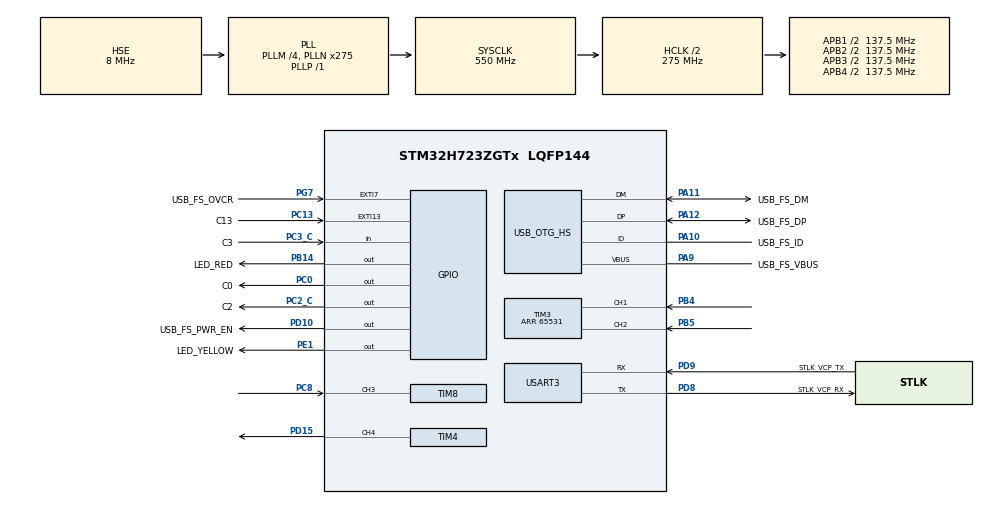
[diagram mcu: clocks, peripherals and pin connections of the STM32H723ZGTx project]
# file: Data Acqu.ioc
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Mcu.Family=STM32H7
Mcu.Name=STM32H723ZGTx
Mcu.Package=LQFP144
NVIC.EXTI15_10_IRQn=true\:0\:0\:false\:false\:true\:true\:true
NVIC.PriorityGroup=NVIC_PRIORITYGROUP_4
NVIC.TIM23_IRQn=true\:0\:0\:false\:false\:true\:true\:true
NVIC.TIM24_IRQn=true\:0\:0\:false\:false\:true\:true\:true
NVIC.TIM2_IRQn=true\:0\:0\:false\:false\:true\:true\:true
PA10.GPIO_Label=USB_FS_ID
PA10.Mode=OTG/Dual-Role-Device-FS
PA10.Signal=USB_OTG_HS_ID
PA11.GPIO_Label=USB_FS_DM
PA11.Mode=OTG/Dual-Role-Device-FS
PA11.Signal=USB_OTG_HS_DM
PA12.GPIO_Label=USB_FS_DP
PA12.Mode=OTG/Dual-Role-Device-FS
PA12.Signal=USB_OTG_HS_DP
PA13(JTMS/SWDIO).GPIO_Label=SWDIO
PA13(JTMS/SWDIO).Mode=Trace_Asynchronous_SW
PA13(JTMS/SWDIO).Signal=DEBUG_JTMS-SWDIO
PA14(JTCK/SWCLK).GPIO_Label=SWCLK
PA14(JTCK/SWCLK).Mode=Trace_Asynchronous_SW
PA14(JTCK/SWCLK).Signal=DEBUG_JTCK-SWCLK
PA2.GPIO_Label=RMII_MDIO
PA2.Signal=ETH_MDIO
PA7.GPIO_Label=RMII_CRS_DV
PA7.Signal=ETH_CRS_DV
PA9.GPIO_Label=USB_FS_VBUS
PA9.Mode=Activate_VBUS_FS
PA9.Signal=USB_OTG_HS_VBUS
PB13.GPIO_Label=RMII_TXD1
PB13.Signal=ETH_TXD1
PB14.GPIO_Label=LED_RED
PB14.Signal=GPIO_Output
PB3(JTDO/TRACESWO).GPIO_Label=SWO
PB3(JTDO/TRACESWO).Mode=Trace_Asynchronous_SW
PB3(JTDO/TRACESWO).Signal=DEBUG_JTDO-SWO
PB4(NJTRST).Signal=S_TIM3_CH1
PB5.Signal=S_TIM3_CH2
PC0.GPIO_Label=C0
PC0.Signal=GPIO_Output
PC1.GPIO_Label=RMII_MDC
PC1.Signal=ETH_MDC
PC13.GPIO_Label=C13
PC13.Signal=GPXTI13
PC14-OSC32_IN.Mode=LSE-External-Oscillator
PC14-OSC32_IN.Signal=RCC_OSC32_IN
PC15-OSC32_OUT.Mode=LSE-External-Oscillator
PC15-OSC32_OUT.Signal=RCC_OSC32_OUT
PC2_C.GPIO_Label=C2
PC2_C.PinState=GPIO_PIN_SET
PC2_C.Signal=GPIO_Output
PC3_C.GPIO_Label=C3
PC3_C.Signal=GPIO_Input
PC4.GPIO_Label=RMII_RXD0
PC4.Signal=ETH_RXD0
PC5.GPIO_Label=RMII_RXD1
PC5.Signal=ETH_RXD1
PC8.Signal=S_TIM8_CH3
PD10.GPIO_Label=USB_FS_PWR_EN
PD10.Signal=GPIO_Output
PD15.Signal=S_TIM4_CH4
PD8.GPIO_Label=STLK_VCP_RX
PD8.Mode=Asynchronous
PD8.Signal=USART3_TX
PD9.GPIO_Label=STLK_VCP_TX
PD9.Mode=Asynchronous
PD9.Signal=USART3_RX
PE1.GPIO_Label=LED_YELLOW
PE1.Signal=GPIO_Output
PG11.GPIO_Label=RMII_TX_EN
PG11.Signal=ETH_TX_EN
PG13.GPIO_Label=RMII_TXD0
PG13.Signal=ETH_TXD0
PG7.GPIO_Label=USB_FS_OVCR
PG7.Signal=GPXTI7
PH0-OSC_IN.GPIO_Label=MCO
PH0-OSC_IN.Mode=HSE-External-Clock-Source
PH0-OSC_IN.Signal=RCC_OSC_IN
PH1-OSC_OUT.Signal=RCC_OSC_OUT
ProjectManager.HeapSize=0x200
ProjectManager.StackSize=0x400
ProjectManager.TargetToolchain=STM32CubeIDE
RCC.ADCFreq_Value=76000000
RCC.APB1Freq_Value=137500000
RCC.APB2Freq_Value=137500000
RCC.APB3Freq_Value=137500000
RCC.APB4Freq_Value=137500000
RCC.CortexFreq_Value=550000000
RCC.D1PPRE=RCC_APB3_DIV2
RCC.D2PPRE1=RCC_APB1_DIV2
RCC.D2PPRE2=RCC_APB2_DIV2
RCC.D3PPRE=RCC_APB4_DIV2
RCC.DIVM1=4
RCC.DIVM2=1
RCC.DIVN1=275
RCC.DIVN2=19
RCC.DIVP1=1
RCC.DIVQ1=4
RCC.HCLKFreq_Value=275000000
RCC.HPRE=RCC_HCLK_DIV2
RCC.HSE_VALUE=8000000
RCC.PLLFRACN=0
RCC.PLLSourceVirtual=RCC_PLLSOURCE_HSE
RCC.SYSCLKFreq_VALUE=550000000
RCC.SYSCLKSource=RCC_SYSCLKSOURCE_PLLCLK
RCC.USBCLockSelection=RCC_USBCLKSOURCE_HSI48
RCC.USBFreq_Value=48000000
SH.S_TIM3_CH1.0=TIM3_CH1,Encoder_Interface
SH.S_TIM3_CH2.0=TIM3_CH2,Encoder_Interface
SH.S_TIM4_CH4.0=TIM4_CH4,PWM Generation4 CH4
SH.S_TIM8_CH3.0=TIM8_CH3,Input_Capture3_from_TI3
TIM2.Period=2749
TIM2.Prescaler=999
TIM23.Period=9999
TIM23.Prescaler=549
TIM24.Period=14
TIM24.Prescaler=65530
TIM3.EncoderMode=TIM_ENCODERMODE_TI12
TIM3.IC1Filter=10
TIM3.IC2Filter=10
TIM3.Period=65531
TIM4.Channel-PWM\ Generation4\ CH4=TIM_CHANNEL_4
TIM4.Period=27499
TIM4.Prescaler=99
TIM4.Pulse-PWM\ Generation4\ CH4=4999
TIM5.Period=99999
TIM5.Prescaler=5499
TIM8.Channel-Input_Capture3_from_TI3=TIM_CHANNEL_3
TIM8.ICFilter_CH3=10
TIM8.Prescaler=9999
TIM8.RepetitionCounter=10
USART3.VirtualMode-Asynchronous=VM_ASYNC
VP_TIM23_VS_ClockSourceINT.Mode=Internal
VP_TIM24_VS_ClockSourceINT.Mode=Internal
VP_TIM2_VS_ClockSourceINT.Mode=Internal
VP_TIM4_VS_ClockSourceINT.Mode=Internal
VP_TIM5_VS_ClockSourceINT.Mode=Internal
VP_TIM8_VS_ClockSourceINT.Mode=Internal
board=NUCLEO-H723ZG

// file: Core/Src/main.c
/* USER CODE BEGIN Header */
/**
  ******************************************************************************
  * @file           : main.c
  * @brief          : Main program body
  ******************************************************************************
  * @attention
  *
  * <h2><center>&copy; Copyright (c) 2022 STMicroelectronics.
  * All rights reserved.</center></h2>
  *
  * This software component is licensed by ST under BSD 3-Clause license,
  * the "License"; You may not use this file except in compliance with the
  * License. You may obtain a copy of the License at:
  *                        opensource.org/licenses/BSD-3-Clause
  *
  ******************************************************************************
  */
/* USER CODE END Header */
#include "main.h"

TIM_HandleTypeDef htim2;
TIM_HandleTypeDef htim3;
TIM_HandleTypeDef htim4;
TIM_HandleTypeDef htim5;
TIM_HandleTypeDef htim8;
TIM_HandleTypeDef htim23;
TIM_HandleTypeDef htim24;

UART_HandleTypeDef huart3;

/* USER CODE BEGIN PV */
#include "stdint.h"
#include "stdio.h"
#include <math.h>
#include <stdbool.h>
#include <stdlib.h>
#include "arm_math.h"

/* USER CODE END PV */

void SystemClock_Config(void);
static void MX_GPIO_Init(void);
static void MX_USART3_UART_Init(void);
static void MX_USB_OTG_HS_USB_Init(void);
static void MX_TIM4_Init(void);
static void MX_TIM3_Init(void);
static void MX_TIM8_Init(void);
static void MX_TIM2_Init(void);
static void MX_TIM5_Init(void);
static void MX_TIM23_Init(void);
static void MX_TIM24_Init(void);
/* USER CODE BEGIN PFP */
void HAL_TIM_PeriodElapsedCallback(TIM_HandleTypeDef * htim);
extern void initialise_monitor_handles(void);
int pulses(void);
void Data_Aqc (int in , int out_spd , int out_pos , int data_nmbr);

/* USER CODE END PFP */

/* USER CODE BEGIN 0 */
int Pulses;
float speed = 0;
float N =1;
float input_val = 0;
float * out_speed ;
float * IN;
float * Position;

float Fe = 100;
double DutyC = 0;
int ccr_reg = 0;
int ARR = 27500;

int p = 0 ;
FILE * F_sp ;
FILE * F_in;
FILE * F_pos;

/* USER CODE END 0 */

int main(void)
{
  /* USER CODE BEGIN 1 */

	initialise_monitor_handles();

		out_speed = (float*) malloc (1000*sizeof(float));
		IN = (float*) malloc (1000*sizeof(float));
		Position = (float*) malloc (1000*sizeof(float));

		__HAL_TIM_SET_COMPARE(&htim4,TIM_CHANNEL_4, ccr_reg);

  /* USER CODE END 1 */

  /* MCU Configuration--------------------------------------------------------*/

  /* Reset of all peripherals, Initializes the Flash interface and the Systick. */
  HAL_Init();

  /* Configure the system clock */
  SystemClock_Config();

  /* Initialize all configured peripherals */
  MX_GPIO_Init();
  MX_USART3_UART_Init();
  MX_USB_OTG_HS_USB_Init();
  MX_TIM4_Init();
  MX_TIM3_Init();
  MX_TIM8_Init();
  MX_TIM2_Init();
  MX_TIM5_Init();
  MX_TIM23_Init();
  MX_TIM24_Init();
  /* USER CODE BEGIN 2 */
  HAL_GPIO_WritePin(GPIOC,GPIO_PIN_0,GPIO_PIN_RESET);
  HAL_GPIO_WritePin(GPIOC,GPIO_PIN_2,GPIO_PIN_SET);
  HAL_TIM_PWM_Start(&htim4,TIM_CHANNEL_4);
  HAL_TIM_Encoder_Start(&htim3,TIM_CHANNEL_ALL);
  HAL_TIM_IC_Start (&htim8,TIM_CHANNEL_3);
  HAL_TIM_Base_Start_IT(&htim2);
  //HAL_TIM_Base_Start_IT(&htim23);

  int CCR_old =0;
  int CCR_new = 0;

  while (1)
  {

	    while(! (__HAL_TIM_GET_FLAG(&htim8,TIM_FLAG_CC3))) {}
		  CCR_new = __HAL_TIM_GET_COMPARE(&htim8,TIM_CHANNEL_3);
		  int diff = CCR_new - CCR_old;
		  CCR_old = CCR_new;
		  speed = 154.2746392/ diff; // Rad/s
			//143.320208327- PPR 1205.6
			// 127.0497029 - PPR 1360
			//154.2746392 - PPR 1120

  }

  p =4;
  /* USER CODE END 2 */

  /* Infinite loop */
  while (1)
  {

  }
}

void SystemClock_Config(void)
{
  RCC_OscInitTypeDef RCC_OscInitStruct = {0};
  RCC_ClkInitTypeDef RCC_ClkInitStruct = {0};

  /** Supply configuration update enable
  */
  HAL_PWREx_ConfigSupply(PWR_LDO_SUPPLY);
  /** Configure the main internal regulator output voltage
  */
  __HAL_PWR_VOLTAGESCALING_CONFIG(PWR_REGULATOR_VOLTAGE_SCALE0);

  while(!__HAL_PWR_GET_FLAG(PWR_FLAG_VOSRDY)) {}
  /** Initializes the RCC Oscillators according to the specified parameters
  * in the RCC_OscInitTypeDef structure.
  */
  RCC_OscInitStruct.OscillatorType = RCC_OSCILLATORTYPE_HSI48|RCC_OSCILLATORTYPE_HSE;
  RCC_OscInitStruct.HSEState = RCC_HSE_BYPASS;
  RCC_OscInitStruct.HSI48State = RCC_HSI48_ON;
  RCC_OscInitStruct.PLL.PLLState = RCC_PLL_ON;
  RCC_OscInitStruct.PLL.PLLSource = RCC_PLLSOURCE_HSE;
  RCC_OscInitStruct.PLL.PLLM = 4;
  RCC_OscInitStruct.PLL.PLLN = 275;
  RCC_OscInitStruct.PLL.PLLP = 1;
  RCC_OscInitStruct.PLL.PLLQ = 4;
  RCC_OscInitStruct.PLL.PLLR = 2;
  RCC_OscInitStruct.PLL.PLLRGE = RCC_PLL1VCIRANGE_1;
  RCC_OscInitStruct.PLL.PLLVCOSEL = RCC_PLL1VCOWIDE;
  RCC_OscInitStruct.PLL.PLLFRACN = 0;
  if (HAL_RCC_OscConfig(&RCC_OscInitStruct) != HAL_OK)
  {
    Error_Handler();
  }
  /** Initializes the CPU, AHB and APB buses clocks
  */
  RCC_ClkInitStruct.ClockType = RCC_CLOCKTYPE_HCLK|RCC_CLOCKTYPE_SYSCLK
                              |RCC_CLOCKTYPE_PCLK1|RCC_CLOCKTYPE_PCLK2
                              |RCC_CLOCKTYPE_D3PCLK1|RCC_CLOCKTYPE_D1PCLK1;
  RCC_ClkInitStruct.SYSCLKSource = RCC_SYSCLKSOURCE_PLLCLK;
  RCC_ClkInitStruct.SYSCLKDivider = RCC_SYSCLK_DIV1;
  RCC_ClkInitStruct.AHBCLKDivider = RCC_HCLK_DIV2;
  RCC_ClkInitStruct.APB3CLKDivider = RCC_APB3_DIV2;
  RCC_ClkInitStruct.APB1CLKDivider = RCC_APB1_DIV2;
  RCC_ClkInitStruct.APB2CLKDivider = RCC_APB2_DIV2;
  RCC_ClkInitStruct.APB4CLKDivider = RCC_APB4_DIV2;

  if (HAL_RCC_ClockConfig(&RCC_ClkInitStruct, FLASH_LATENCY_3) != HAL_OK)
  {
    Error_Handler();
  }
}

static void MX_TIM2_Init(void)
{

  TIM_ClockConfigTypeDef sClockSourceConfig = {0};
  TIM_MasterConfigTypeDef sMasterConfig = {0};

  htim2.Instance = TIM2;
  htim2.Init.Prescaler = 999;
  htim2.Init.CounterMode = TIM_COUNTERMODE_UP;
  htim2.Init.Period = 2749;
  htim2.Init.ClockDivision = TIM_CLOCKDIVISION_DIV1;
  htim2.Init.AutoReloadPreload = TIM_AUTORELOAD_PRELOAD_DISABLE;
  if (HAL_TIM_Base_Init(&htim2) != HAL_OK)
  {
    Error_Handler();
  }
  sClockSourceConfig.ClockSource = TIM_CLOCKSOURCE_INTERNAL;
  if (HAL_TIM_ConfigClockSource(&htim2, &sClockSourceConfig) != HAL_OK)
  {
    Error_Handler();
  }
  sMasterConfig.MasterOutputTrigger = TIM_TRGO_RESET;
  sMasterConfig.MasterSlaveMode = TIM_MASTERSLAVEMODE_DISABLE;
  if (HAL_TIMEx_MasterConfigSynchronization(&htim2, &sMasterConfig) != HAL_OK)
  {
    Error_Handler();
  }

}

static void MX_TIM3_Init(void)
{

  TIM_Encoder_InitTypeDef sConfig = {0};
  TIM_MasterConfigTypeDef sMasterConfig = {0};

  htim3.Instance = TIM3;
  htim3.Init.Prescaler = 0;
  htim3.Init.CounterMode = TIM_COUNTERMODE_UP;
  htim3.Init.Period = 65531;
  htim3.Init.ClockDivision = TIM_CLOCKDIVISION_DIV1;
  htim3.Init.AutoReloadPreload = TIM_AUTORELOAD_PRELOAD_DISABLE;
  sConfig.EncoderMode = TIM_ENCODERMODE_TI12;
  sConfig.IC1Polarity = TIM_ICPOLARITY_RISING;
  sConfig.IC1Selection = TIM_ICSELECTION_DIRECTTI;
  sConfig.IC1Prescaler = TIM_ICPSC_DIV1;
  sConfig.IC1Filter = 10;
  sConfig.IC2Polarity = TIM_ICPOLARITY_RISING;
  sConfig.IC2Selection = TIM_ICSELECTION_DIRECTTI;
  sConfig.IC2Prescaler = TIM_ICPSC_DIV1;
  sConfig.IC2Filter = 10;
  if (HAL_TIM_Encoder_Init(&htim3, &sConfig) != HAL_OK)
  {
    Error_Handler();
  }
  sMasterConfig.MasterOutputTrigger = TIM_TRGO_RESET;
  sMasterConfig.MasterSlaveMode = TIM_MASTERSLAVEMODE_DISABLE;
  if (HAL_TIMEx_MasterConfigSynchronization(&htim3, &sMasterConfig) != HAL_OK)
  {
    Error_Handler();
  }

}

static void MX_TIM4_Init(void)
{

  TIM_ClockConfigTypeDef sClockSourceConfig = {0};
  TIM_MasterConfigTypeDef sMasterConfig = {0};
  TIM_OC_InitTypeDef sConfigOC = {0};

  htim4.Instance = TIM4;
  htim4.Init.Prescaler = 99;
  htim4.Init.CounterMode = TIM_COUNTERMODE_UP;
  htim4.Init.Period = 27499;
  htim4.Init.ClockDivision = TIM_CLOCKDIVISION_DIV1;
  htim4.Init.AutoReloadPreload = TIM_AUTORELOAD_PRELOAD_DISABLE;
  if (HAL_TIM_Base_Init(&htim4) != HAL_OK)
  {
    Error_Handler();
  }
  sClockSourceConfig.ClockSource = TIM_CLOCKSOURCE_INTERNAL;
  if (HAL_TIM_ConfigClockSource(&htim4, &sClockSourceConfig) != HAL_OK)
  {
    Error_Handler();
  }
  if (HAL_TIM_PWM_Init(&htim4) != HAL_OK)
  {
    Error_Handler();
  }
  sMasterConfig.MasterOutputTrigger = TIM_TRGO_RESET;
  sMasterConfig.MasterSlaveMode = TIM_MASTERSLAVEMODE_DISABLE;
  if (HAL_TIMEx_MasterConfigSynchronization(&htim4, &sMasterConfig) != HAL_OK)
  {
    Error_Handler();
  }
  sConfigOC.OCMode = TIM_OCMODE_PWM1;
  sConfigOC.Pulse = 4999;
  sConfigOC.OCPolarity = TIM_OCPOLARITY_HIGH;
  sConfigOC.OCFastMode = TIM_OCFAST_DISABLE;
  if (HAL_TIM_PWM_ConfigChannel(&htim4, &sConfigOC, TIM_CHANNEL_4) != HAL_OK)
  {
    Error_Handler();
  }
  HAL_TIM_MspPostInit(&htim4);

}

static void MX_TIM5_Init(void)
{

  TIM_ClockConfigTypeDef sClockSourceConfig = {0};
  TIM_MasterConfigTypeDef sMasterConfig = {0};

  htim5.Instance = TIM5;
  htim5.Init.Prescaler = 5499;
  htim5.Init.CounterMode = TIM_COUNTERMODE_UP;
  htim5.Init.Period = 99999;
  htim5.Init.ClockDivision = TIM_CLOCKDIVISION_DIV1;
  htim5.Init.AutoReloadPreload = TIM_AUTORELOAD_PRELOAD_DISABLE;
  if (HAL_TIM_Base_Init(&htim5) != HAL_OK)
  {
    Error_Handler();
  }
  sClockSourceConfig.ClockSource = TIM_CLOCKSOURCE_INTERNAL;
  if (HAL_TIM_ConfigClockSource(&htim5, &sClockSourceConfig) != HAL_OK)
  {
    Error_Handler();
  }
  sMasterConfig.MasterOutputTrigger = TIM_TRGO_RESET;
  sMasterConfig.MasterSlaveMode = TIM_MASTERSLAVEMODE_DISABLE;
  if (HAL_TIMEx_MasterConfigSynchronization(&htim5, &sMasterConfig) != HAL_OK)
  {
    Error_Handler();
  }

}

static void MX_TIM8_Init(void)
{

  TIM_ClockConfigTypeDef sClockSourceConfig = {0};
  TIM_MasterConfigTypeDef sMasterConfig = {0};
  TIM_IC_InitTypeDef sConfigIC = {0};

  htim8.Instance = TIM8;
  htim8.Init.Prescaler = 9999;
  htim8.Init.CounterMode = TIM_COUNTERMODE_UP;
  htim8.Init.Period = 65535;
  htim8.Init.ClockDivision = TIM_CLOCKDIVISION_DIV1;
  htim8.Init.RepetitionCounter = 10;
  htim8.Init.AutoReloadPreload = TIM_AUTORELOAD_PRELOAD_DISABLE;
  if (HAL_TIM_Base_Init(&htim8) != HAL_OK)
  {
    Error_Handler();
  }
  sClockSourceConfig.ClockSource = TIM_CLOCKSOURCE_INTERNAL;
  if (HAL_TIM_ConfigClockSource(&htim8, &sClockSourceConfig) != HAL_OK)
  {
    Error_Handler();
  }
  if (HAL_TIM_IC_Init(&htim8) != HAL_OK)
  {
    Error_Handler();
  }
  sMasterConfig.MasterOutputTrigger = TIM_TRGO_RESET;
  sMasterConfig.MasterOutputTrigger2 = TIM_TRGO2_RESET;
  sMasterConfig.MasterSlaveMode = TIM_MASTERSLAVEMODE_DISABLE;
  if (HAL_TIMEx_MasterConfigSynchronization(&htim8, &sMasterConfig) != HAL_OK)
  {
    Error_Handler();
  }
  sConfigIC.ICPolarity = TIM_INPUTCHANNELPOLARITY_RISING;
  sConfigIC.ICSelection = TIM_ICSELECTION_DIRECTTI;
  sConfigIC.ICPrescaler = TIM_ICPSC_DIV1;
  sConfigIC.ICFilter = 10;
  if (HAL_TIM_IC_ConfigChannel(&htim8, &sConfigIC, TIM_CHANNEL_3) != HAL_OK)
  {
    Error_Handler();
  }

}

static void MX_TIM23_Init(void)
{

  TIM_ClockConfigTypeDef sClockSourceConfig = {0};
  TIM_MasterConfigTypeDef sMasterConfig = {0};

  htim23.Instance = TIM23;
  htim23.Init.Prescaler = 549;
  htim23.Init.CounterMode = TIM_COUNTERMODE_UP;
  htim23.Init.Period = 9999;
  htim23.Init.ClockDivision = TIM_CLOCKDIVISION_DIV1;
  htim23.Init.AutoReloadPreload = TIM_AUTORELOAD_PRELOAD_DISABLE;
  if (HAL_TIM_Base_Init(&htim23) != HAL_OK)
  {
    Error_Handler();
  }
  sClockSourceConfig.ClockSource = TIM_CLOCKSOURCE_INTERNAL;
  if (HAL_TIM_ConfigClockSource(&htim23, &sClockSourceConfig) != HAL_OK)
  {
    Error_Handler();
  }
  sMasterConfig.MasterOutputTrigger = TIM_TRGO_RESET;
  sMasterConfig.MasterSlaveMode = TIM_MASTERSLAVEMODE_DISABLE;
  if (HAL_TIMEx_MasterConfigSynchronization(&htim23, &sMasterConfig) != HAL_OK)
  {
    Error_Handler();
  }

}

static void MX_TIM24_Init(void)
{

  TIM_ClockConfigTypeDef sClockSourceConfig = {0};
  TIM_MasterConfigTypeDef sMasterConfig = {0};

  htim24.Instance = TIM24;
  htim24.Init.Prescaler = 65530;
  htim24.Init.CounterMode = TIM_COUNTERMODE_UP;
  htim24.Init.Period = 14;
  htim24.Init.ClockDivision = TIM_CLOCKDIVISION_DIV1;
  htim24.Init.AutoReloadPreload = TIM_AUTORELOAD_PRELOAD_DISABLE;
  if (HAL_TIM_Base_Init(&htim24) != HAL_OK)
  {
    Error_Handler();
  }
  sClockSourceConfig.ClockSource = TIM_CLOCKSOURCE_INTERNAL;
  if (HAL_TIM_ConfigClockSource(&htim24, &sClockSourceConfig) != HAL_OK)
  {
    Error_Handler();
  }
  sMasterConfig.MasterOutputTrigger = TIM_TRGO_RESET;
  sMasterConfig.MasterSlaveMode = TIM_MASTERSLAVEMODE_DISABLE;
  if (HAL_TIMEx_MasterConfigSynchronization(&htim24, &sMasterConfig) != HAL_OK)
  {
    Error_Handler();
  }

}

static void MX_USART3_UART_Init(void)
{

  huart3.Instance = USART3;
  huart3.Init.BaudRate = 115200;
  huart3.Init.WordLength = UART_WORDLENGTH_8B;
  huart3.Init.StopBits = UART_STOPBITS_1;
  huart3.Init.Parity = UART_PARITY_NONE;
  huart3.Init.Mode = UART_MODE_TX_RX;
  huart3.Init.HwFlowCtl = UART_HWCONTROL_NONE;
  huart3.Init.OverSampling = UART_OVERSAMPLING_16;
  huart3.Init.OneBitSampling = UART_ONE_BIT_SAMPLE_DISABLE;
  huart3.Init.ClockPrescaler = UART_PRESCALER_DIV1;
  huart3.AdvancedInit.AdvFeatureInit = UART_ADVFEATURE_NO_INIT;
  if (HAL_UART_Init(&huart3) != HAL_OK)
  {
    Error_Handler();
  }
  if (HAL_UARTEx_SetTxFifoThreshold(&huart3, UART_TXFIFO_THRESHOLD_1_8) != HAL_OK)
  {
    Error_Handler();
  }
  if (HAL_UARTEx_SetRxFifoThreshold(&huart3, UART_RXFIFO_THRESHOLD_1_8) != HAL_OK)
  {
    Error_Handler();
  }
  if (HAL_UARTEx_DisableFifoMode(&huart3) != HAL_OK)
  {
    Error_Handler();
  }

}

static void MX_USB_OTG_HS_USB_Init(void)
{

}

static void MX_GPIO_Init(void)
{
  GPIO_InitTypeDef GPIO_InitStruct = {0};

  /* GPIO Ports Clock Enable */
  __HAL_RCC_GPIOC_CLK_ENABLE();
  __HAL_RCC_GPIOH_CLK_ENABLE();
  __HAL_RCC_GPIOA_CLK_ENABLE();
  __HAL_RCC_GPIOB_CLK_ENABLE();
  __HAL_RCC_GPIOD_CLK_ENABLE();
  __HAL_RCC_GPIOG_CLK_ENABLE();
  __HAL_RCC_GPIOE_CLK_ENABLE();

  /*Configure GPIO pin Output Level */
  HAL_GPIO_WritePin(C0_GPIO_Port, C0_Pin, GPIO_PIN_RESET);

  /*Configure GPIO pin Output Level */
  HAL_GPIO_WritePin(C2_GPIO_Port, C2_Pin, GPIO_PIN_SET);

  /*Configure GPIO pin Output Level */
  HAL_GPIO_WritePin(LED_RED_GPIO_Port, LED_RED_Pin, GPIO_PIN_RESET);

  /*Configure GPIO pin Output Level */
  HAL_GPIO_WritePin(USB_FS_PWR_EN_GPIO_Port, USB_FS_PWR_EN_Pin, GPIO_PIN_RESET);

  /*Configure GPIO pin Output Level */
  HAL_GPIO_WritePin(LED_YELLOW_GPIO_Port, LED_YELLOW_Pin, GPIO_PIN_RESET);

  /*Configure GPIO pin : C13_Pin */
  GPIO_InitStruct.Pin = C13_Pin;
  GPIO_InitStruct.Mode = GPIO_MODE_IT_RISING;
  GPIO_InitStruct.Pull = GPIO_NOPULL;
  HAL_GPIO_Init(C13_GPIO_Port, &GPIO_InitStruct);

  /*Configure GPIO pins : C0_Pin C2_Pin */
  GPIO_InitStruct.Pin = C0_Pin|C2_Pin;
  GPIO_InitStruct.Mode = GPIO_MODE_OUTPUT_PP;
  GPIO_InitStruct.Pull = GPIO_NOPULL;
  GPIO_InitStruct.Speed = GPIO_SPEED_FREQ_LOW;
  HAL_GPIO_Init(GPIOC, &GPIO_InitStruct);

  /*Configure GPIO pins : RMII_MDC_Pin RMII_RXD0_Pin RMII_RXD1_Pin */
  GPIO_InitStruct.Pin = RMII_MDC_Pin|RMII_RXD0_Pin|RMII_RXD1_Pin;
  GPIO_InitStruct.Mode = GPIO_MODE_AF_PP;
  GPIO_InitStruct.Pull = GPIO_NOPULL;
  GPIO_InitStruct.Speed = GPIO_SPEED_FREQ_LOW;
  GPIO_InitStruct.Alternate = GPIO_AF11_ETH;
  HAL_GPIO_Init(GPIOC, &GPIO_InitStruct);

  /*Configure GPIO pin : C3_Pin */
  GPIO_InitStruct.Pin = C3_Pin;
  GPIO_InitStruct.Mode = GPIO_MODE_INPUT;
  GPIO_InitStruct.Pull = GPIO_NOPULL;
  HAL_GPIO_Init(C3_GPIO_Port, &GPIO_InitStruct);

  /*Configure GPIO pins : RMII_MDIO_Pin RMII_CRS_DV_Pin */
  GPIO_InitStruct.Pin = RMII_MDIO_Pin|RMII_CRS_DV_Pin;
  GPIO_InitStruct.Mode = GPIO_MODE_AF_PP;
  GPIO_InitStruct.Pull = GPIO_NOPULL;
  GPIO_InitStruct.Speed = GPIO_SPEED_FREQ_LOW;
  GPIO_InitStruct.Alternate = GPIO_AF11_ETH;
  HAL_GPIO_Init(GPIOA, &GPIO_InitStruct);

  /*Configure GPIO pin : RMII_TXD1_Pin */
  GPIO_InitStruct.Pin = RMII_TXD1_Pin;
  GPIO_InitStruct.Mode = GPIO_MODE_AF_PP;
  GPIO_InitStruct.Pull = GPIO_NOPULL;
  GPIO_InitStruct.Speed = GPIO_SPEED_FREQ_LOW;
  GPIO_InitStruct.Alternate = GPIO_AF11_ETH;
  HAL_GPIO_Init(RMII_TXD1_GPIO_Port, &GPIO_InitStruct);

  /*Configure GPIO pin : LED_RED_Pin */
  GPIO_InitStruct.Pin = LED_RED_Pin;
  GPIO_InitStruct.Mode = GPIO_MODE_OUTPUT_PP;
  GPIO_InitStruct.Pull = GPIO_NOPULL;
  GPIO_InitStruct.Speed = GPIO_SPEED_FREQ_LOW;
  HAL_GPIO_Init(LED_RED_GPIO_Port, &GPIO_InitStruct);

  /*Configure GPIO pin : USB_FS_PWR_EN_Pin */
  GPIO_InitStruct.Pin = USB_FS_PWR_EN_Pin;
  GPIO_InitStruct.Mode = GPIO_MODE_OUTPUT_PP;
  GPIO_InitStruct.Pull = GPIO_NOPULL;
  GPIO_InitStruct.Speed = GPIO_SPEED_FREQ_LOW;
  HAL_GPIO_Init(USB_FS_PWR_EN_GPIO_Port, &GPIO_InitStruct);

  /*Configure GPIO pin : USB_FS_OVCR_Pin */
  GPIO_InitStruct.Pin = USB_FS_OVCR_Pin;
  GPIO_InitStruct.Mode = GPIO_MODE_IT_RISING;
  GPIO_InitStruct.Pull = GPIO_NOPULL;
  HAL_GPIO_Init(USB_FS_OVCR_GPIO_Port, &GPIO_InitStruct);

  /*Configure GPIO pin : USB_FS_VBUS_Pin */
  GPIO_InitStruct.Pin = USB_FS_VBUS_Pin;
  GPIO_InitStruct.Mode = GPIO_MODE_INPUT;
  GPIO_InitStruct.Pull = GPIO_NOPULL;
  HAL_GPIO_Init(USB_FS_VBUS_GPIO_Port, &GPIO_InitStruct);

  /*Configure GPIO pin : USB_FS_ID_Pin */
  GPIO_InitStruct.Pin = USB_FS_ID_Pin;
  GPIO_InitStruct.Mode = GPIO_MODE_AF_PP;
  GPIO_InitStruct.Pull = GPIO_NOPULL;
  GPIO_InitStruct.Speed = GPIO_SPEED_FREQ_LOW;
  GPIO_InitStruct.Alternate = GPIO_AF10_OTG1_HS;
  HAL_GPIO_Init(USB_FS_ID_GPIO_Port, &GPIO_InitStruct);

  /*Configure GPIO pins : RMII_TX_EN_Pin RMII_TXD0_Pin */
  GPIO_InitStruct.Pin = RMII_TX_EN_Pin|RMII_TXD0_Pin;
  GPIO_InitStruct.Mode = GPIO_MODE_AF_PP;
  GPIO_InitStruct.Pull = GPIO_NOPULL;
  GPIO_InitStruct.Speed = GPIO_SPEED_FREQ_LOW;
  GPIO_InitStruct.Alternate = GPIO_AF11_ETH;
  HAL_GPIO_Init(GPIOG, &GPIO_InitStruct);

  /*Configure GPIO pin : LED_YELLOW_Pin */
  GPIO_InitStruct.Pin = LED_YELLOW_Pin;
  GPIO_InitStruct.Mode = GPIO_MODE_OUTPUT_PP;
  GPIO_InitStruct.Pull = GPIO_NOPULL;
  GPIO_InitStruct.Speed = GPIO_SPEED_FREQ_LOW;
  HAL_GPIO_Init(LED_YELLOW_GPIO_Port, &GPIO_InitStruct);

  /* EXTI interrupt init*/
  HAL_NVIC_SetPriority(EXTI15_10_IRQn, 0, 0);
  HAL_NVIC_EnableIRQ(EXTI15_10_IRQn);

}

/* USER CODE BEGIN 4 */
int i = 0;
int old_pulse = 0 ;
int New_pulse = 0 ;
int pulses(void)
{

	if (New_pulse < old_pulse)
	{
		i++;
	}
	New_pulse = i*65532 + __HAL_TIM_GET_COUNTER(&htim3);
	old_pulse = New_pulse;
	return (((2*M_PI)/1120) * New_pulse);

}

void HAL_TIM_PeriodElapsedCallback(TIM_HandleTypeDef * htim)
{

	Pulses = pulses();

	DutyC =  (((2.2*sin(3.123*(double)(N/Fe)) + 2.3)/4.9) + ((1.7*sin(5.73*(double)(N/Fe)) + 1.8)/3.5) + ((1.4*sin(2.39*(double)(N/Fe)) + 1.4)/2.8))/3;
	input_val =  DutyC * 12 ;
	ccr_reg = (int) round ( DutyC * ARR ) ;
	__HAL_TIM_SET_COMPARE(&htim4,TIM_CHANNEL_4, ccr_reg);

	N++;

}
/* USER CODE END 4 */

void Error_Handler(void)
{
  __disable_irq();
  while (1)
  {
  }
}

/************************ (C) COPYRIGHT STMicroelectronics *****END OF FILE****/
